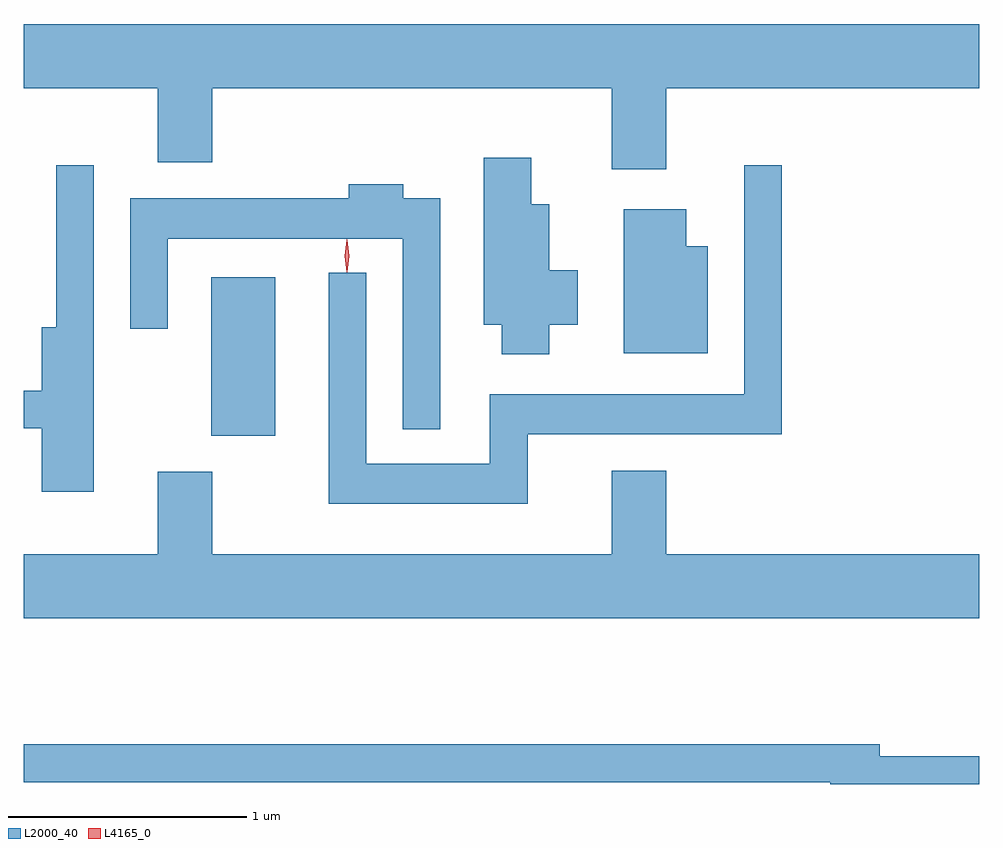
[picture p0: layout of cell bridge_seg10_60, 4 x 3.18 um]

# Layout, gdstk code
import gdstk
lib = gdstk.Library(unit=1e-6, precision=1e-09)
def R(c, l, rs):  # rectangles x0, y0, x1, y1
    for r in rs: c.add(gdstk.rectangle(r[:2], r[2:], *l))
def P(c, l, *ps):  # polygons
    for p in ps: c.add(gdstk.Polygon(p, *l))
L2000_40 = (2000, 40)
L4165_0 = (4165, 0)

bridge_seg10_60 = lib.new_cell('bridge_seg10_60')
R(bridge_seg10_60, L2000_40, [(1587.596,2199.041,1587.864,2199.704)])
P(bridge_seg10_60, L2000_40, [(1589.499,2200.496),(1590.81,2200.496),(1590.81,2200.764),(1586.81,2200.764),(1586.81,2200.496),(1587.371,2200.496),(1587.371,2200.186),(1587.599,2200.186),(1587.599,2200.496),(1589.271,2200.496),(1589.271,2200.156),(1589.499,2200.156)],
  [(1589.009,2199.506),(1589.129,2199.506),(1589.129,2199.734),(1589.009,2199.734),(1589.009,2200.009),(1588.934,2200.009),(1588.934,2200.204),(1588.736,2200.204),(1588.736,2199.506),(1588.811,2199.506),(1588.811,2199.381),(1589.009,2199.381)],
  [(1587.104,2200.173),(1586.946,2200.173),(1586.946,2199.494),(1586.886,2199.494),(1586.886,2199.229),(1586.81,2199.229),(1586.81,2199.071),(1586.886,2199.071),(1586.886,2198.806),(1587.104,2198.806)],
  [(1588.919,2199.046),(1589.984,2199.046),(1589.984,2200.173),(1589.826,2200.173),(1589.826,2199.214),(1588.761,2199.214),(1588.761,2198.924),(1588.244,2198.924),(1588.244,2199.723),(1588.086,2199.723),(1588.086,2198.756),(1588.919,2198.756)],
  [(1588.554,2200.034),(1588.399,2200.034),(1588.399,2200.094),(1588.171,2200.094),(1588.171,2200.034),(1587.256,2200.034),(1587.256,2199.488),(1587.414,2199.488),(1587.414,2199.866),(1588.396,2199.866),(1588.396,2199.068),(1588.554,2199.068)],
  [(1589.674,2199.834),(1589.584,2199.834),(1589.584,2199.989),(1589.321,2199.989),(1589.321,2199.386),(1589.674,2199.386)],
  [(1590.81,2198.544),(1589.499,2198.544),(1589.499,2198.894),(1589.271,2198.894),(1589.271,2198.544),(1587.599,2198.544),(1587.599,2198.889),(1587.371,2198.889),(1587.371,2198.544),(1586.81,2198.544),(1586.81,2198.276),(1590.81,2198.276)],
  [(1590.81,2197.699),(1590.394,2197.699),(1590.394,2197.749),(1586.81,2197.749),(1586.81,2197.591),(1590.186,2197.591),(1590.186,2197.583),(1590.81,2197.583)])
P(bridge_seg10_60, L4165_0, [(1588.163,2199.724),(1588.163,2199.724),(1588.153,2199.793),(1588.163,2199.862),(1588.163,2199.863),(1588.164,2199.862),(1588.173,2199.793),(1588.164,2199.724)])

lib.write_gds('bridge_seg10_60.gds')
